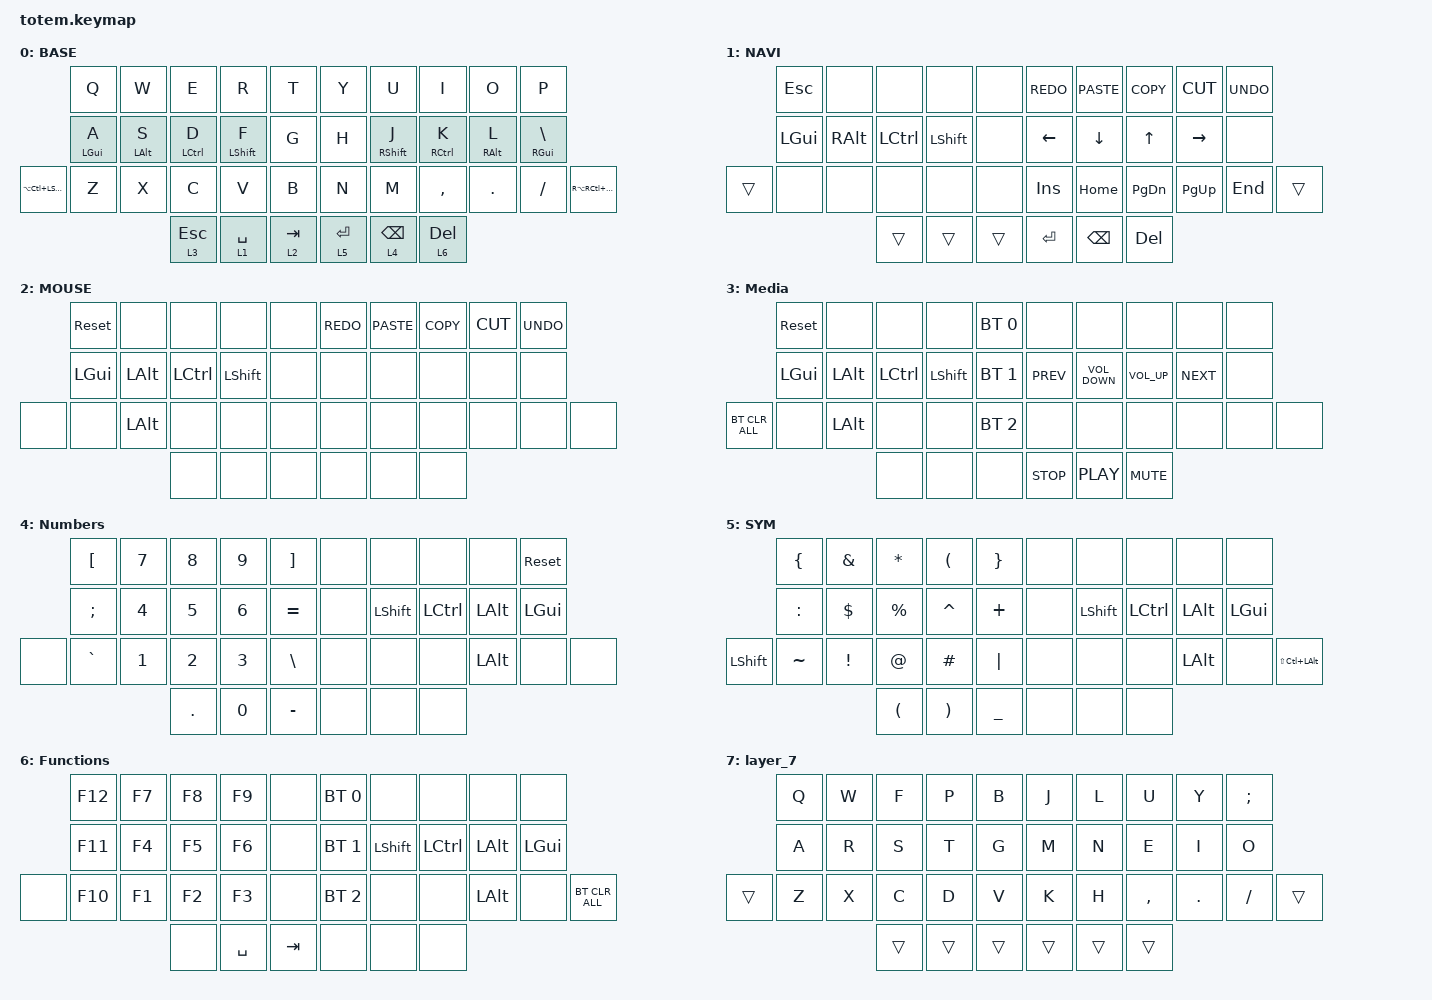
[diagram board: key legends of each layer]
#include <behaviors.dtsi>
#include <dt-bindings/zmk/bt.h>
#include <dt-bindings/zmk/keys.h>

#define BASE 0
#define NAV  1
#define SYM  2
#define ADJ  3
#define TVP1 4
#define TVP2 5

&mt {
    quick-tap-ms = <285>;
    flavor = "balanced";
};

/ {
    combos {
        compatible = "zmk,combos";

        combo_esc {
            timeout-ms = <50>;
            key-positions = <0 1>;
            bindings = <&kp ESC>;
        };

        combo_tvp {
            timeout-ms = <100>;
            key-positions = <11 12 13>;
            bindings = <&tog 0>;
        };
    };

    macros {
        gif: gif {
            label = "giphy";
            compatible = "zmk,behavior-macro";
            #binding-cells = <0>;
            bindings =
                <&macro_press>,
                <&kp LSHFT>,
                <&macro_tap>,
                <&kp N2>,
                <&macro_release>,
                <&kp LSHFT>,
                <&macro_tap>,
                <&kp G &kp I &kp F>;
        };
    };

    keymap {
        compatible = "zmk,keymap";

        base_layer {
            label = "BASE";
            bindings = <
                        &kp Q       &kp W       &kp E         &kp R        &kp T        &kp Y        &kp U            &kp I        &kp O       &kp P
                        &mt LGUI A  &mt LALT S  &mt LCTRL D   &mt LSHFT F  &kp G        &kp H        &mt RSHFT J      &mt RCTRL K  &mt RALT L  &mt RGUI BSLH
&kp LA(LC(LEFT_SHIFT))  &kp Z       &kp X       &kp C         &kp V        &kp B        &kp N        &kp M            &kp COMMA    &kp DOT     &kp FSLH       &kp RA(RC(RG(RIGHT_SHIFT)))
                                                &lt 3 ESCAPE  &lt 1 SPACE  &lt 2 TAB    &lt 5 ENTER  &lt 4 BACKSPACE  &lt 6 DEL
            >;
        };

        nav_layer {
            label = "NAVI";
            bindings = <
        &kp ESC       &none          &none      &none           &none     &kp K_REDO  &kp K_PASTE     &kp K_COPY     &kp K_CUT  &kp K_UNDO
        &kp LEFT_GUI  &kp RIGHT_ALT  &kp LCTRL  &kp LEFT_SHIFT  &none     &kp LEFT    &kp DOWN_ARROW  &kp UP_ARROW   &kp RIGHT  &none
&trans  &none         &none          &none      &none           &none     &kp INS     &kp HOME        &kp PAGE_DOWN  &kp PG_UP  &kp END     &trans
                                     &trans     &trans          &trans    &kp ENTER   &kp BACKSPACE   &kp DELETE
            >;
        };

        Mouse {
            bindings = <
       &sys_reset  &none     &none      &none      &none    &kp K_REDO  &kp K_PASTE  &kp K_COPY  &kp K_CUT  &kp K_UNDO
       &kp LGUI    &kp LALT  &kp LCTRL  &kp LSHFT  &none    &none   &none    &none   &none  &none
&none  &none       &kp LALT  &none      &none      &none    &none       &none        &none       &none      &none       &none
                             &none      &none      &none    &none       &none        &none
            >;

            label = "MOUSE";
        };

        Media {
            bindings = <
                &sys_reset  &none     &none      &none      &bt BT_SEL 0    &none       &none              &none            &none       &none
                &kp LGUI    &kp LALT  &kp LCTRL  &kp LSHFT  &bt BT_SEL 1           &kp C_PREV  &kp C_VOLUME_DOWN  &kp C_VOLUME_UP  &kp C_NEXT  &none
&bt BT_CLR_ALL  &none       &kp LALT  &none      &none      &bt BT_SEL 2           &none       &none              &none            &none       &none  &none
                             &none      &none      &none           &kp C_STOP  &kp C_PLAY         &kp K_MUTE
            >;
        };

        Numbers {
            bindings = <
       &kp LBKT   &kp N7  &kp N8   &kp N9  &kp RBKT     &none  &none      &none      &none     &sys_reset
       &kp SEMI   &kp N4  &kp N5   &kp N6  &kp EQUAL    &none  &kp LSHFT  &kp LCTRL  &kp LALT  &kp LGUI
&none  &kp GRAVE  &kp N1  &kp N2   &kp N3  &kp BSLH     &none  &none      &none      &kp LALT  &none       &none
                          &kp DOT  &kp N0  &kp MINUS    &none  &none      &none
            >;
        };

        Simbol {
            bindings = <
           &kp LEFT_BRACE  &kp AMPS  &kp STAR   &kp LPAR   &kp RBRC     &none  &none      &none      &none     &none
           &kp COLON       &kp DLLR  &kp PRCNT  &kp CARET  &kp PLUS     &none  &kp LSHFT  &kp LCTRL  &kp LALT  &kp LGUI
&kp LSHFT  &kp TILDE       &kp EXCL  &kp AT     &kp POUND  &kp PIPE     &none  &none      &none      &kp LALT  &none     &kp LS(LC(LALT))
                                     &kp LPAR   &kp RPAR   &kp UNDER    &none  &none      &none
            >;

            label = "SYM";
        };

        Functions {
            bindings = <
       &kp F12  &kp F7  &kp F8  &kp F9     &none      &bt BT_SEL 0  &none      &none      &none     &none
       &kp F11  &kp F4  &kp F5  &kp F6     &none      &bt BT_SEL 1  &kp LSHFT  &kp LCTRL  &kp LALT  &kp LGUI
&none  &kp F10  &kp F1  &kp F2  &kp F3     &none      &bt BT_SEL 2  &none      &none      &kp LALT  &none     &bt BT_CLR_ALL
                        &none   &kp SPACE  &kp TAB    &none         &none      &none
            >;
        };

        layer_7 {
            bindings = <
        &kp Q  &kp W  &kp F   &kp P   &kp B     &kp J   &kp L   &kp U      &kp Y    &kp SEMI
        &kp A  &kp R  &kp S   &kp T   &kp G     &kp M   &kp N   &kp E      &kp I    &kp O
&trans  &kp Z  &kp X  &kp C   &kp D   &kp V     &kp K   &kp H   &kp COMMA  &kp DOT  &kp FSLH  &trans
                      &trans  &trans  &trans    &trans  &trans  &trans
            >;
        };
    };
};
